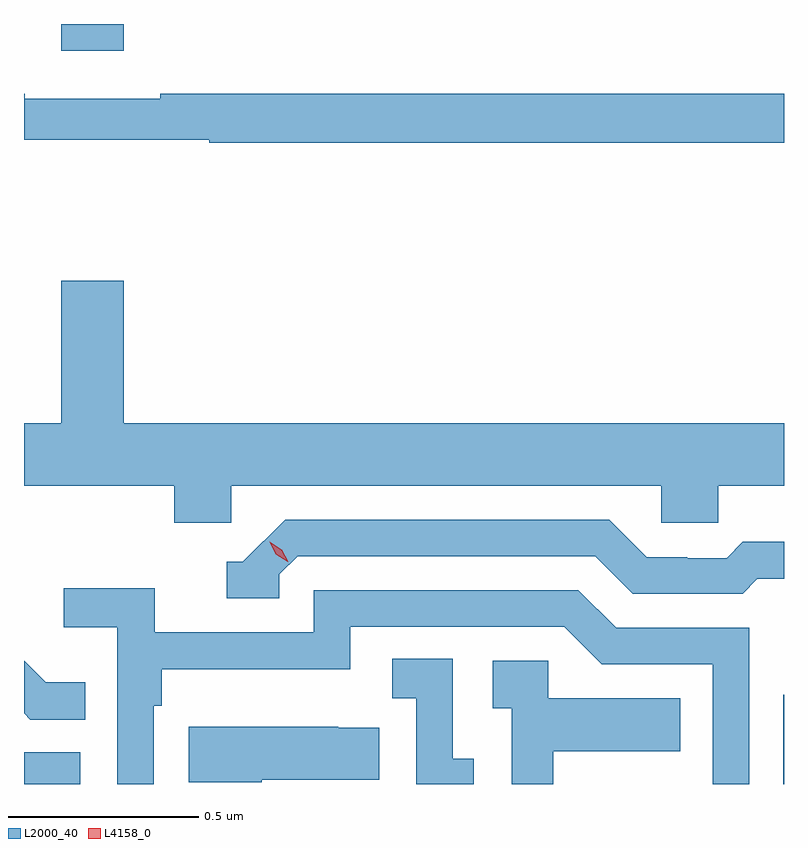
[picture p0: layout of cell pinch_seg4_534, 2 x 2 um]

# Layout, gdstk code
import gdstk
lib = gdstk.Library(unit=1e-6, precision=1e-09)
def R(c, l, rs):  # rectangles x0, y0, x1, y1
    for r in rs: c.add(gdstk.rectangle(r[:2], r[2:], *l))
def P(c, l, *ps):  # polygons
    for p in ps: c.add(gdstk.Polygon(p, *l))
L2000_40 = (2000, 40)
L4158_0 = (4158, 0)

pinch_seg4_534 = lib.new_cell('pinch_seg4_534')
R(pinch_seg4_534, L2000_40, [(1028.046,769.395,1028.194,769.479), (1030.044,769.395,1030.046,769.63), (1028.144,771.324,1028.308,771.395)])
P(pinch_seg4_534, L2000_40, [(1030.046,771.211),(1028.404,771.211),(1028.404,771.198),(1028.048,771.198),(1028.048,771.211),(1028.046,771.211),(1028.046,771.09),(1028.534,771.09),(1028.534,771.082),(1030.046,771.082)],
  [(1028.308,770.719),(1028.144,770.719),(1028.144,770.344),(1028.046,770.344),(1028.046,770.18),(1028.441,770.18),(1028.441,770.082),(1028.592,770.082),(1028.592,770.18),(1029.723,770.18),(1029.723,770.082),(1029.873,770.082),(1029.873,770.18),(1030.046,770.18),(1030.046,770.344),(1028.308,770.344)],
  [(1028.718,769.947),(1028.766,769.995),(1029.549,769.995),(1029.648,769.896),(1029.937,769.896),(1029.976,769.935),(1030.046,769.935),(1030.046,770.032),(1029.937,770.032),(1029.895,769.989),(1029.792,769.989),(1029.792,769.992),(1029.685,769.992),(1029.586,770.091),(1028.733,770.091),(1028.622,769.98),(1028.579,769.98),(1028.579,769.884),(1028.718,769.884)],
  [(1028.388,769.601),(1028.408,769.601),(1028.408,769.697),(1028.904,769.697),(1028.904,769.809),(1029.468,769.809),(1029.567,769.71),(1029.858,769.71),(1029.858,769.395),(1029.954,769.395),(1029.954,769.806),(1029.604,769.806),(1029.505,769.905),(1028.808,769.905),(1028.808,769.794),(1028.39,769.794),(1028.39,769.91),(1028.151,769.91),(1028.151,769.808),(1028.292,769.808),(1028.292,769.395),(1028.388,769.395)],
  [(1029.229,769.461),(1029.174,769.461),(1029.174,769.724),(1029.015,769.724),(1029.015,769.621),(1029.078,769.621),(1029.078,769.395),(1029.229,769.395)],
  [(1028.207,769.663),(1028.103,769.663),(1028.046,769.72),(1028.046,769.581),(1028.063,769.564),(1028.207,769.564)],
  [(1029.439,769.481),(1029.773,769.481),(1029.773,769.621),(1029.426,769.621),(1029.426,769.719),(1029.279,769.719),(1029.279,769.595),(1029.33,769.595),(1029.33,769.395),(1029.439,769.395)],
  [(1028.671,769.406),(1028.981,769.406),(1028.981,769.543),(1028.873,769.543),(1028.873,769.546),(1028.48,769.546),(1028.48,769.399),(1028.671,769.399)])
P(pinch_seg4_534, L4158_0, [(1028.74,769.98),(1028.709,769.999),(1028.693,770.031),(1028.693,770.032),(1028.693,770.032),(1028.724,770.012),(1028.741,769.98),(1028.741,769.98)])

lib.write_gds('pinch_seg4_534.gds')
